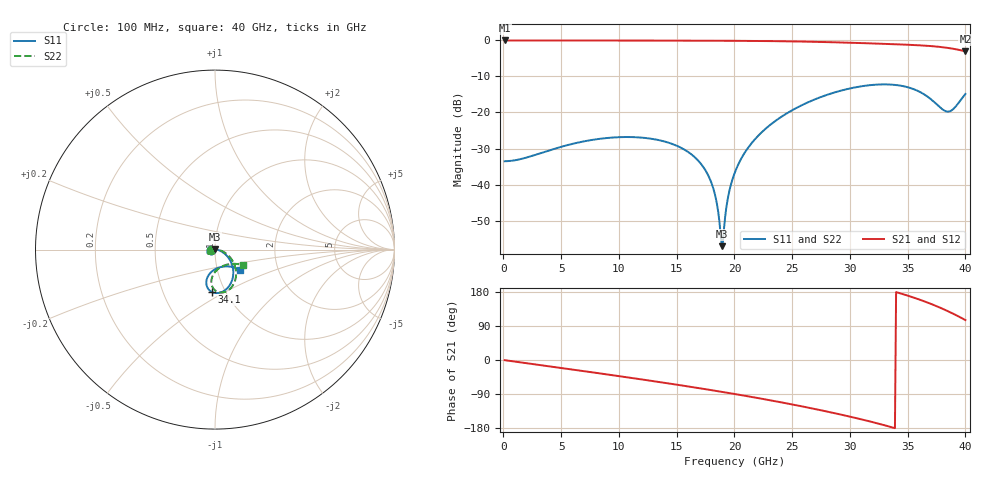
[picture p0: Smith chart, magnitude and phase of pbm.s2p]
! C_s8_nonfp: physics-based via model (prototype), ports at the via
# Hz S RI R 50
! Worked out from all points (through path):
!   400 points, 100 MHz to 40 GHz, reference 50 ohm
!   highest |S21| = -0.19 dB at 100 MHz (marker M1); lowest = -3.2 dB at 40 GHz (marker M2)
!   group delay of S21, straight-line fit = 16 ps
!   lowest |S11| = -56.9 dB at 18.9 GHz (marker M3), VSWR 1.00, Z = 50 + j0.14 ohm
!   |S11| at or under -10 dB: start of sweep to end of sweep
!   |S22| runs from -57.2 to -12.3 dB; largest |S21 - S12| = 0
!   S11 on the Smith chart (normalised r, x): 100 MHz: 0.96, -0.00; 34.1 GHz: 0.86, -0.43; 40 GHz: 1.28, -0.30
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1e8  -0.0211 -0.000415  0.9789 -0.00717  0.9789 -0.00717  -0.0211 -0.000424
6.8e9  -0.0331 -0.021  0.8576 -0.4694  0.8576 -0.4694  -0.0325 -0.022
1.03e10  -0.0411 -0.0196  0.7041 -0.6763  0.7041 -0.6763  -0.0402 -0.0214
1.34e10  -0.04 -0.0109  0.5208 -0.824  0.5208 -0.824  -0.0394 -0.0132
1.59e10  -0.0289 -0.00235  0.3435 -0.9105  0.3435 -0.9105  -0.0287 -0.00434
1.75e10  -0.0157 0.00122  0.218 -0.9469  0.218 -0.9469  -0.0158 -2.98e-06
1.84e10  -0.00617 0.00175  0.1438 -0.9598  0.1438 -0.9598  -0.00629 0.00121
1.87e10  -0.00266 0.0016  0.1185 -0.9628  0.1185 -0.9628  -0.00278 0.00133
1.89e10  -0.000239 0.0014  0.1015 -0.9645  0.1015 -0.9645  -0.000354 0.00133
1.9e10  0.000998 0.00127  0.093 -0.9652  0.093 -0.9652  0.000888 0.0013
1.92e10  0.00352 0.000944  0.0759 -0.9664  0.0759 -0.9664  0.00343 0.00118
1.94e10  0.0061 0.000523  0.0587 -0.9672  0.0587 -0.9672  0.00603 0.000972
2.01e10  0.0156 -0.00174  -0.00214 -0.9677  -0.00214 -0.9677  0.0157 -0.000455
2.11e10  0.0302 -0.00738  -0.0905 -0.9612  -0.0905 -0.9612  0.0307 -0.0047
2.25e10  0.0515 -0.0208  -0.2156 -0.9368  -0.2156 -0.9368  0.0533 -0.0159
2.67e10  0.0999 -0.1047  -0.5732 -0.7444  -0.5732 -0.7444  0.1112 -0.0927
3.03e10  0.0782 -0.2037  -0.7984 -0.4323  -0.7984 -0.4323  0.1038 -0.192
3.34e10  0.00102 -0.2417  -0.8716 -0.0676  -0.8716 -0.0676  0.0353 -0.2391
3.41e10  -0.018 -0.2358  -0.8656 0.0254  -0.8656 0.0254  0.0163 -0.2359
3.64e10  -0.0474 -0.1715  -0.7558 0.3479  -0.7558 0.3479  -0.0205 -0.1766
3.84e10  0.0219 -0.1  -0.4989 0.5944  -0.4989 0.5944  0.0377 -0.0946
4e10  0.1384 -0.1137  -0.1834 0.6672  -0.1834 0.6672  0.1556 -0.0877
